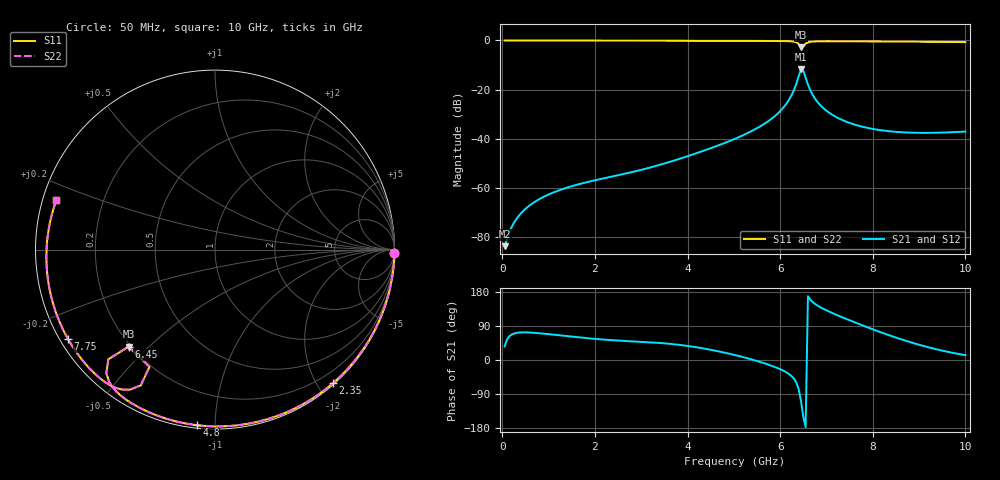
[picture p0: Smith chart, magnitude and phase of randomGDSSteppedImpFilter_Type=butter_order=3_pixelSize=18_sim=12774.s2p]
! freq	dB(S11)	phase(S11)	dB(S12)	phase(S12)
!  dB(S21)	phase(S21)	dB(S22)	phase(S22)
!S-par simulation data
#  GHz  S  DB  R 50
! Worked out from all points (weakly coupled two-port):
!   200 points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, 50 MHz to 10 GHz, reference 50 ohm
!   highest |S21| = -11.81 dB at 6.45 GHz (marker M1); lowest = -83.8 dB at 50 MHz (marker M2)
!   lowest |S11| = -2.8 dB at 6.45 GHz (marker M3), VSWR 6.26, Z = 9.55 - j21.8 ohm
!   |S11| at or under -10 dB: nowhere
!   |S22| runs from -2.8 to 0.0 dB; largest |S21 - S12| = 0
!   S11 on the Smith chart (normalised r, x): 50 MHz: open; 2.35 GHz: 0.02, -2.21; 4.8 GHz: 0.02, -0.90; 6.45 GHz: 0.19, -0.44; 7.75 GHz: 0.02, -0.28; 10 GHz: 0.04, +0.15
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0.05  -0.00 -1.1  -83.77 36.0  -83.77 36.0  -0.00 -1.1
0.1  -0.00 -2.1  -80.81 53.4  -80.81 53.4  -0.00 -2.1
0.35  -0.00 -7.4  -71.58 72.3  -71.58 72.3  -0.00 -7.4
0.65  -0.01 -13.7  -66.37 72.1  -66.37 72.1  -0.01 -13.7
1.1  -0.03 -23.1  -61.92 66.9  -61.92 66.9  -0.03 -23.1
1.75  -0.05 -36.5  -58.07 58.5  -58.07 58.5  -0.05 -36.5
2.35  -0.06 -48.6  -55.50 52.5  -55.50 52.5  -0.06 -48.6
3.4  -0.09 -69.3  -50.66 45.0  -50.66 45.0  -0.09 -69.4
4.8  -0.14 -96.0  -41.76 19.4  -41.76 19.4  -0.14 -96.0
5.05  -0.16 -100.7  -39.84 12.3  -39.84 12.3  -0.16 -100.7
5.6  -0.19 -111.3  -34.63 -6.4  -34.63 -6.4  -0.19 -111.3
6  -0.24 -119.6  -28.77 -24.2  -28.77 -24.2  -0.24 -119.7
6.25  -0.39 -126.6  -22.15 -42.8  -22.15 -42.8  -0.39 -126.7
6.4  -1.39 -134.2  -14.52 -76.6  -14.52 -76.6  -1.39 -134.2
6.45  -2.80 -131.7  -11.81 -108.5  -11.81 -108.5  -2.80 -131.7
6.5  -2.52 -119.2  -12.30 -149.9  -12.30 -149.9  -2.52 -119.2
6.55  -1.29 -118.7  -15.20 -177.0  -15.20 -177.0  -1.29 -118.7
6.7  -0.47 -125.6  -22.10 153.1  -22.10 153.1  -0.47 -125.6
7.1  -0.33 -135.7  -29.97 125.3  -29.97 125.3  -0.33 -135.7
7.75  -0.37 -148.8  -35.01 92.7  -35.01 92.7  -0.37 -148.8
8.35  -0.43 -160.8  -36.96 65.5  -36.96 65.5  -0.43 -160.8
10  -0.67 162.7  -37.09 12.8  -37.09 12.8  -0.67 162.6
